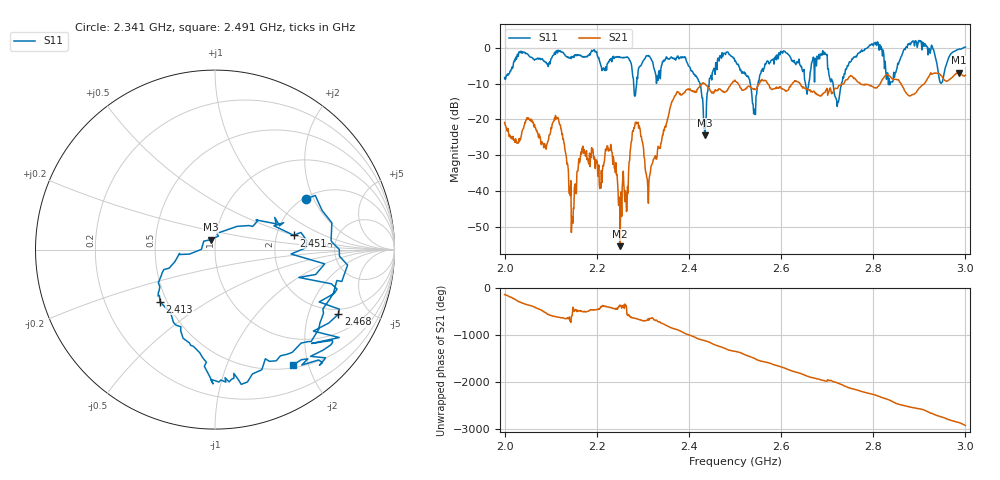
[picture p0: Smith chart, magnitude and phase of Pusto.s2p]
! PocketVna 1.81  pocketvna.com
! Live measurements ((Reflection-S11, Transmission-S21) Logarithmic 2000000000-3000000000/801 calibrated)
# GHz S DB R 50
! GHz  dBS11  <S11  dBS21  <S21  dBS12  <S12  dBS22  <S22
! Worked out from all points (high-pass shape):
!   801 points, 2 GHz to 3 GHz, reference 50 ohm
!   highest |S21| = -6.96 dB at 2.986 GHz (marker M1); lowest = -55.3 dB at 2.251 GHz (marker M2)
!   |S21| within 3 dB of the highest: 2.815 GHz to 2.86 GHz (44.35 MHz wide, 1.56 % of centre); 2.911 GHz to end of sweep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
!   lowest |S11| = -24.4 dB at 2.435 GHz (marker M3), VSWR 1.13, Z = 47.3 + j5.25 ohm
!   |S11| at or under -10 dB: 2.424 GHz to 2.444 GHz (19.76 MHz wide, 0.812 % of centre); 2.533 GHz to 2.55 GHz (16.95 MHz wide, 0.667 % of centre); 2.713 GHz to 2.731 GHz (18.39 MHz wide, 0.675 % of centre)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
!   S12 and S22 are empty: the file has one direction only
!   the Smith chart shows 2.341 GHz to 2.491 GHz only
!   S11 on the Smith chart (normalised r, x): 2.341 GHz: 2.05, +1.74; 2.413 GHz: 0.46, -0.32; 2.451 GHz: 2.50, +0.49; 2.468 GHz: 1.75, -3.17; 2.491 GHz: 0.55, -1.76
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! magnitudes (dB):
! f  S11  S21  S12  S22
! 2 GHz  -8.3  -20.9  -  -
! 2.115 GHz  -1.5  -19.5  -  -
! 2.146 GHz  -2.6  -47.1  -  -
! 2.167 GHz  -2.3  -29.6  -  -
! 2.227 GHz  -3.9  -28.3  -  -
! 2.251 GHz  -2.7  -55.3  -  -
! 2.285 GHz  -11.4  -20.8  -  -
! 2.311 GHz  -2.3  -39.0  -  -
! 2.334 GHz  -6.9  -27.6  -  -
! 2.341 GHz  -4.7  -25.2  -  -
! 2.413 GHz  -7.5  -12.1  -  -
! 2.435 GHz  -24.4  -10.1  -  -
! 2.451 GHz  -7.0  -12.4  -  -
! 2.468 GHz  -2.2  -11.6  -  -
! 2.491 GHz  -2.2  -10.3  -  -
! 2.501 GHz  -3.7  -9.4  -  -
! 2.542 GHz  -17.1  -11.4  -  -
! 2.6 GHz  -1.2  -11.4  -  -
! 2.667 GHz  -4.0  -12.2  -  -
! 2.834 GHz  -8.6  -7.8  -  -
! 2.986 GHz  -0.4  -7.0  -  -
! 3 GHz  0.1  -7.7  -  -
